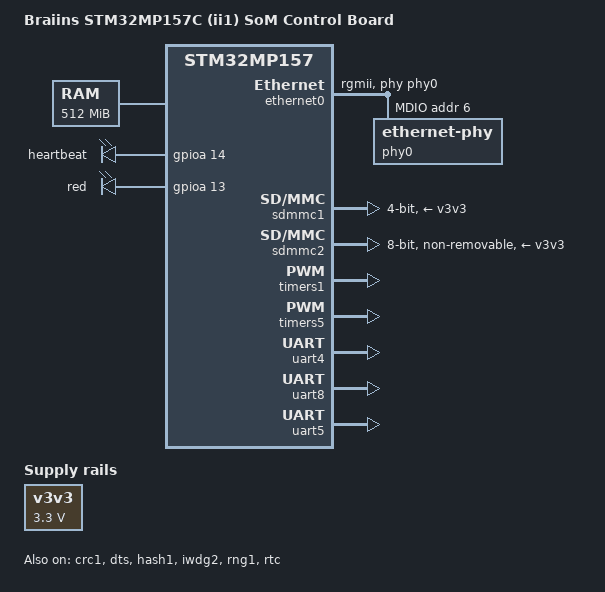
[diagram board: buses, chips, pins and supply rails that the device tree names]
// SPDX-License-Identifier: (GPL-2.0+ OR BSD-3-Clause)
/*
 * Copyright (C) STMicroelectronics 2018 - All Rights Reserved
 * Author: Alexandre Torgue <alexandre.torgue@st.com>.
 */

/dts-v1/;

#include "stm32mp157.dtsi"
#include "stm32mp15xa.dtsi"
#include "stm32mp157c-ii1_som-pinctrl.dtsi"
#include "stm32mp15xxac-pinctrl.dtsi"
#include "stm32mp15-m4-srm.dtsi"

/ {
	model = "Braiins STM32MP157C (ii1) SoM Control Board";
	compatible = "braiins,ii1-stm\0st,stm32mp157";

	aliases {
		ethernet0 = &ethernet0;
		serial0 = &uart4;
		serial2 = &uart8;//rs232
		serial3 = &uart5;//rs485
	};

	chosen {
		stdout-path = "serial0:115200n8";
	};

	memory@c0000000 {
		device_type = "memory";
		reg = <0xc0000000 0x20000000>;
	};

	reserved-memory {
		#address-cells = <1>;
		#size-cells = <1>;
		ranges;
	};

	led {
		compatible = "gpio-leds";
		led-blue {
			label = "heartbeat";
			gpios = <&gpioa 14 GPIO_ACTIVE_HIGH>;
			linux,default-trigger = "heartbeat";
			default-state = "off";
		};

		led-red {
			label = "red";
			gpios = <&gpioa 13 GPIO_ACTIVE_HIGH>;
			linux,default-trigger = "none";
			status = "okay";
		};
	};

	v3v3: regulator-v3v3 {
		compatible = "regulator-fixed";
		regulator-name = "v3v3";
		regulator-min-microvolt = <3300000>;
		regulator-max-microvolt = <3300000>;
		regulator-always-on;
	};
};

&crc1 {
	status = "okay";
};

&dma1 {
	status = "okay";
	sram = <&dma_pool>;
};

&dma2 {
	status = "disabled";
	sram = <&dma_pool>;
};

&dmamux1 {
	status = "okay";
	dma-masters = <&dma1>;
	dma-channels = <8>;
};

&dts {
	status = "okay";
};

/*g ethernet*/
&ethernet0 {
	status = "okay";
	pinctrl-0 = <&ethernet0_rgmii_pins_a>;
	pinctrl-1 = <&ethernet0_rgmii_sleep_pins_a>;
	pinctrl-names = "default", "sleep";
	phy-mode = "rgmii";
	max-speed = <1000>;
	phy-handle = <&phy0>;

	mdio0 {
		#address-cells = <1>;
		#size-cells = <0>;
		compatible = "snps,dwmac-mdio";
		phy0: ethernet-phy@6 {
			reg = <6>;
		};
	};
};

&hash1 {
	status = "okay";
};

/*watch dog*/
&iwdg2 {
	timeout-sec = <32>;
	status = "okay";
};

&rng1 {
	status = "okay";
};

/*rtc*/
&rtc {
	status = "okay";
};

/*SD card*/
&sdmmc1 {
	pinctrl-names = "default", "opendrain", "sleep";
	pinctrl-0 = <&sdmmc1_b4_pins_a>;
	pinctrl-1 = <&sdmmc1_b4_od_pins_a>;
	pinctrl-2 = <&sdmmc1_b4_sleep_pins_a>;
	broken-cd;
	st,neg-edge;
	bus-width = <4>;
	vmmc-supply = <&v3v3>;
	status = "okay";
};

/*emmc*/
&sdmmc2 {
	pinctrl-names = "default", "opendrain", "sleep";
	pinctrl-0 = <&sdmmc2_b4_pins_a &sdmmc2_d47_pins_a>;
	pinctrl-1 = <&sdmmc2_b4_od_pins_a &sdmmc2_d47_pins_a>;
	pinctrl-2 = <&sdmmc2_b4_sleep_pins_a &sdmmc2_d47_sleep_pins_a>;
	non-removable;
	no-sd;
	no-sdio;
	st,neg-edge;
	bus-width = <8>;
	mmc-ddr-3_3v;
	vmmc-supply = <&v3v3>;
	vqmmc-supply = <&v3v3>;
	status = "okay";
};

&sram {
	dma_pool: dma_pool@0 {
		reg = <0x50000 0x10000>;
		pool;
	};
};

&timers1 {
	/* spare dmas for other usage */
	/delete-property/dmas;
	/delete-property/dma-names;
	status = "okay";
	pwm {
		pinctrl-0 = <&pwm1_pins_a>;
		pinctrl-1 = <&pwm1_sleep_pins_a>;
		pinctrl-names = "default", "sleep";
		status = "okay";
	};
	timer@0 {
		status = "okay";
	};
};

&timers5 {
	/delete-property/dmas;
	/delete-property/dma-names;
	status = "okay";
	pwm {
		pinctrl-0 = <&pwm5_pins_a>;
		pinctrl-1 = <&pwm5_sleep_pins_a>;
		pinctrl-names = "default", "sleep";
		status = "okay";
	};
};

/*DEBUG*/
&uart4 {
	pinctrl-names = "default", "sleep", "idle";
	pinctrl-0 = <&uart4_pins_a>;
	pinctrl-1 = <&uart4_sleep_pins_a>;
	pinctrl-2 = <&uart4_idle_pins_a>;
	status = "okay";
};

/*rs232*/
&uart8 {
	pinctrl-names = "default", "sleep";
	pinctrl-0 = <&uart8_pins_mx>;
	pinctrl-1 = <&uart8_sleep_pins_mx>;
	status = "okay";
};

/*rs485*/
&uart5 {
	pinctrl-names = "default", "sleep","idle";
	pinctrl-0 = <&uart5_pins_a>;
	pinctrl-1 = <&uart5_sleep_pins_a>;
	pinctrl-2 = <&uart5_idle_pins_a>;
	/delete-property/dmas;
	/delete-property/dma-names;
	status = "okay";
};
